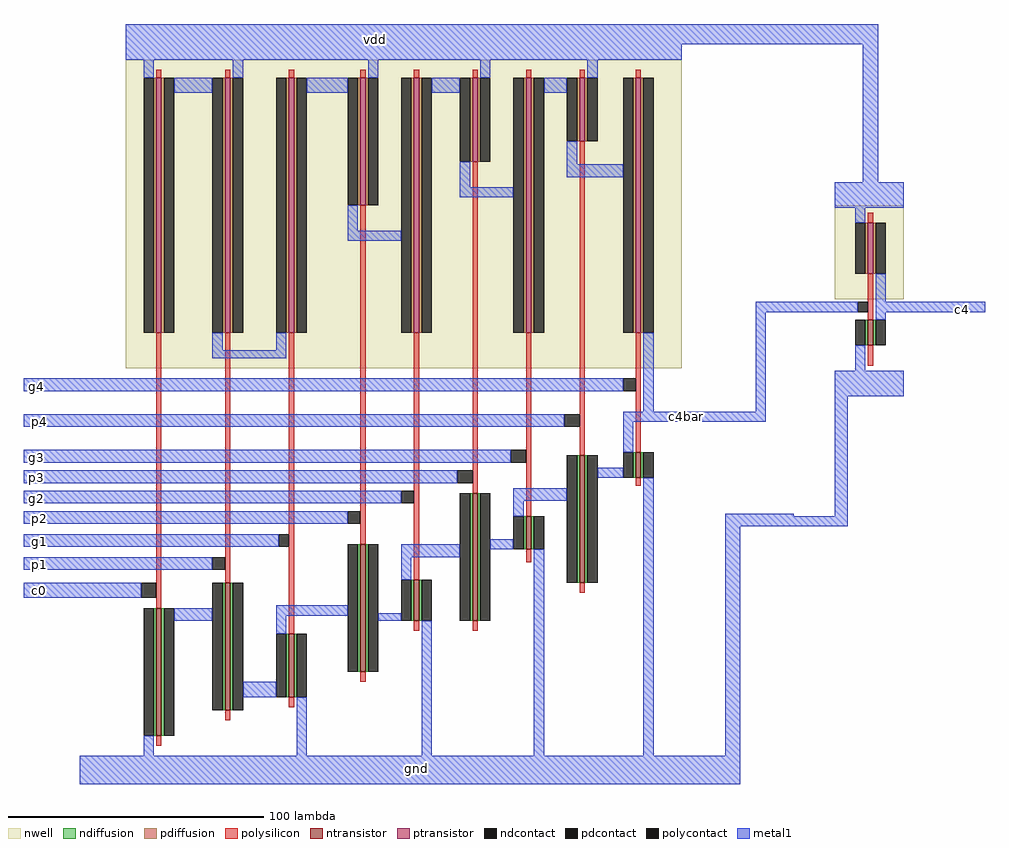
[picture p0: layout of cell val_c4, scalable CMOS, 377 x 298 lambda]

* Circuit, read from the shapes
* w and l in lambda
.subckt val_c4 c0 c4 c4bar g1 g2 g3 g4 gnd p1 p2 p3 p4 vdd
M1 n1 c0 gnd VSUBS nfet w=50 l=2
M2 n2 p1 n1 VSUBS nfet w=50 l=2
M3 gnd g1 n2 VSUBS nfet w=25 l=2
M4 n3 p2 n2 VSUBS nfet w=50 l=2
M5 gnd g2 n3 VSUBS nfet w=16 l=2
M6 n4 p3 n3 VSUBS nfet w=50 l=2
M7 gnd g3 n4 VSUBS nfet w=13 l=2
M8 c4bar p4 n4 VSUBS nfet w=50 l=2
M9 gnd g4 c4bar VSUBS nfet w=10 l=2
M10 c4 c4bar gnd VSUBS nfet w=10 l=2
M11 n5 c0 vdd n6 pfet w=100 l=2
M12 vdd p1 n5 n6 pfet w=100 l=2
M13 n7 g1 n5 n6 pfet w=100 l=2
M14 vdd p2 n7 n6 pfet w=50 l=2
M15 n8 g2 n7 n6 pfet w=100 l=2
M16 vdd p3 n8 n6 pfet w=33 l=2
M17 n9 g3 n8 n6 pfet w=100 l=2
M18 vdd p4 n9 n6 pfet w=25 l=2
M19 c4bar g4 n9 n6 pfet w=100 l=2
M20 c4 c4bar vdd n10 pfet w=20 l=2
.ends

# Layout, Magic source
magic
tech scmos
<< nwell >>
rect -108 -41 110 80
<< ntransistor >>
rect -96 -185 -94 -135
rect -69 -175 -67 -125
rect -44 -170 -42 -145
rect -16 -160 -14 -110
rect 5 -140 7 -124
rect 28 -140 30 -90
rect 49 -112 51 -99
rect 70 -125 72 -75
rect 92 -84 94 -74
<< ptransistor >>
rect -96 -27 -94 73
rect -69 -27 -67 73
rect -44 -27 -42 73
rect -16 23 -14 73
rect 5 -27 7 73
rect 28 40 30 73
rect 49 -27 51 73
rect 70 48 72 73
rect 92 -27 94 73
<< ndiffusion >>
rect -97 -185 -96 -135
rect -94 -185 -93 -135
rect -70 -175 -69 -125
rect -67 -175 -66 -125
rect -45 -170 -44 -145
rect -42 -170 -41 -145
rect -17 -160 -16 -110
rect -14 -160 -13 -110
rect 4 -140 5 -124
rect 7 -140 8 -124
rect 27 -140 28 -90
rect 30 -140 31 -90
rect 48 -112 49 -99
rect 51 -112 52 -99
rect 69 -125 70 -75
rect 72 -125 73 -75
rect 91 -84 92 -74
rect 94 -84 95 -74
<< pdiffusion >>
rect -97 -27 -96 73
rect -94 -27 -93 73
rect -70 -27 -69 73
rect -67 -27 -66 73
rect -45 -27 -44 73
rect -42 -27 -41 73
rect -17 23 -16 73
rect -14 23 -13 73
rect 4 -27 5 73
rect 7 -27 8 73
rect 27 40 28 73
rect 30 40 31 73
rect 48 -27 49 73
rect 51 -27 52 73
rect 69 48 70 73
rect 72 48 73 73
rect 91 -27 92 73
rect 94 -27 95 73
<< ndcontact >>
rect -101 -185 -97 -135
rect -93 -185 -89 -135
rect -74 -175 -70 -125
rect -66 -175 -62 -125
rect -49 -170 -45 -145
rect -41 -170 -37 -145
rect -21 -160 -17 -110
rect -13 -160 -9 -110
rect 0 -140 4 -124
rect 8 -140 12 -124
rect 23 -140 27 -90
rect 31 -140 35 -90
rect 44 -112 48 -99
rect 52 -112 56 -99
rect 65 -125 69 -75
rect 73 -125 77 -75
rect 87 -84 91 -74
rect 95 -84 99 -74
<< pdcontact >>
rect -101 -27 -97 73
rect -93 -27 -89 73
rect -74 -27 -70 73
rect -66 -27 -62 73
rect -49 -27 -45 73
rect -41 -27 -37 73
rect -21 23 -17 73
rect -13 23 -9 73
rect 0 -27 4 73
rect 8 -27 12 73
rect 23 40 27 73
rect 31 40 35 73
rect 44 -27 48 73
rect 52 -27 56 73
rect 65 48 69 73
rect 73 48 77 73
rect 87 -27 91 73
rect 95 -27 99 73
<< polysilicon >>
rect -96 73 -94 76
rect -69 73 -67 76
rect -44 73 -42 76
rect -16 73 -14 76
rect 5 73 7 76
rect 28 73 30 76
rect 49 73 51 76
rect 70 73 72 76
rect 92 73 94 76
rect -96 -135 -94 -27
rect -69 -125 -67 -27
rect -44 -145 -42 -27
rect -16 -110 -14 23
rect 5 -124 7 -27
rect 28 -90 30 40
rect 49 -99 51 -27
rect 70 -75 72 48
rect 92 -74 94 -27
rect 49 -117 51 -112
rect 92 -87 94 -84
rect 70 -129 72 -125
rect 5 -144 7 -140
rect 28 -144 30 -140
rect -16 -164 -14 -160
rect -44 -174 -42 -170
rect -69 -179 -67 -175
rect -96 -189 -94 -185
<< polycontact >>
rect -102 -131 -96 -125
rect -74 -120 -69 -115
rect -48 -111 -44 -106
rect -21 -102 -16 -97
rect 0 -94 5 -89
rect 22 -86 28 -81
rect 43 -78 49 -73
rect 64 -64 70 -59
rect 87 -50 92 -45
<< metal1 >>
rect -108 86 187 94
rect -108 80 110 86
rect -101 73 -97 80
rect -66 73 -62 80
rect -13 73 -9 80
rect 31 73 35 80
rect 73 73 77 80
rect -89 67 -74 73
rect -37 67 -21 73
rect -21 13 -17 23
rect -21 9 0 13
rect 12 67 23 73
rect 23 30 27 40
rect 23 26 44 30
rect 56 67 65 73
rect 65 39 69 48
rect 65 34 87 39
rect 181 31 187 86
rect -74 -34 -70 -27
rect -49 -34 -45 -27
rect -74 -37 -45 -34
rect -148 -50 87 -45
rect 95 -58 99 -27
rect 139 -19 163 -15
rect 209 -19 229 -15
rect 139 -58 143 -19
rect -148 -64 64 -59
rect 87 -62 143 -58
rect -148 -78 43 -73
rect 87 -74 91 -62
rect -148 -86 22 -81
rect -148 -94 0 -89
rect -148 -102 -21 -97
rect -148 -111 -48 -106
rect -148 -120 -74 -115
rect -148 -131 -102 -125
rect -89 -140 -74 -135
rect -49 -138 -21 -134
rect -49 -145 -45 -138
rect -62 -170 -49 -164
rect 0 -115 23 -110
rect 0 -124 4 -115
rect -9 -140 0 -137
rect 44 -93 65 -88
rect 44 -99 48 -93
rect 35 -112 44 -108
rect -101 -193 -97 -185
rect -41 -193 -37 -170
rect 8 -193 12 -140
rect 52 -193 56 -112
rect 77 -84 87 -80
rect 95 -193 99 -84
rect 127 -99 154 -98
rect 170 -99 175 -48
rect 127 -103 175 -99
rect 127 -193 133 -103
rect -126 -204 133 -193
use inv  inv_0
transform 1 0 170 0 1 3
box -7 -55 39 29
<< labels >>
rlabel metal1 -10 88 -10 88 1 vdd
rlabel metal1 -143 -48 -143 -48 3 g4
rlabel metal1 220 -18 220 -18 1 c4
rlabel metal1 112 -60 112 -60 1 c4bar
rlabel metal1 -142 -62 -142 -62 1 p4
rlabel metal1 -143 -76 -143 -76 3 g3
rlabel metal1 6 -198 6 -198 1 gnd
rlabel metal1 -142 -128 -142 -128 1 c0
rlabel metal1 -142 -118 -142 -118 1 p1
rlabel metal1 -142 -109 -142 -109 1 g1
rlabel metal1 -142 -100 -142 -100 1 p2
rlabel metal1 -143 -92 -143 -92 3 g2
rlabel metal1 -143 -84 -143 -84 3 p3
<< end >>

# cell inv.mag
magic
tech scmos
<< nwell >>
rect 0 -17 27 20
<< ntransistor >>
rect 13 -35 15 -25
<< ptransistor >>
rect 13 -7 15 13
<< ndiffusion >>
rect 12 -35 13 -25
rect 15 -35 16 -25
<< pdiffusion >>
rect 12 -7 13 13
rect 15 -7 16 13
<< ndcontact >>
rect 8 -35 12 -25
rect 16 -35 20 -25
<< pdcontact >>
rect 8 -7 12 13
rect 16 -7 20 13
<< polysilicon >>
rect 13 13 15 17
rect 13 -25 15 -7
rect 13 -43 15 -35
<< polycontact >>
rect 9 -22 13 -18
<< metal1 >>
rect 0 19 27 29
rect 8 13 12 19
rect 16 -18 20 -7
rect -7 -22 9 -18
rect 16 -22 39 -18
rect 16 -25 20 -22
rect 8 -45 12 -35
rect 0 -55 27 -45
<< labels >>
rlabel metal1 13 25 13 25 5 vdd
rlabel metal1 20 -48 20 -48 1 gnd
rlabel metal1 2 -20 2 -20 1 b
rlabel metal1 29 -20 29 -20 1 Y
<< end >>
